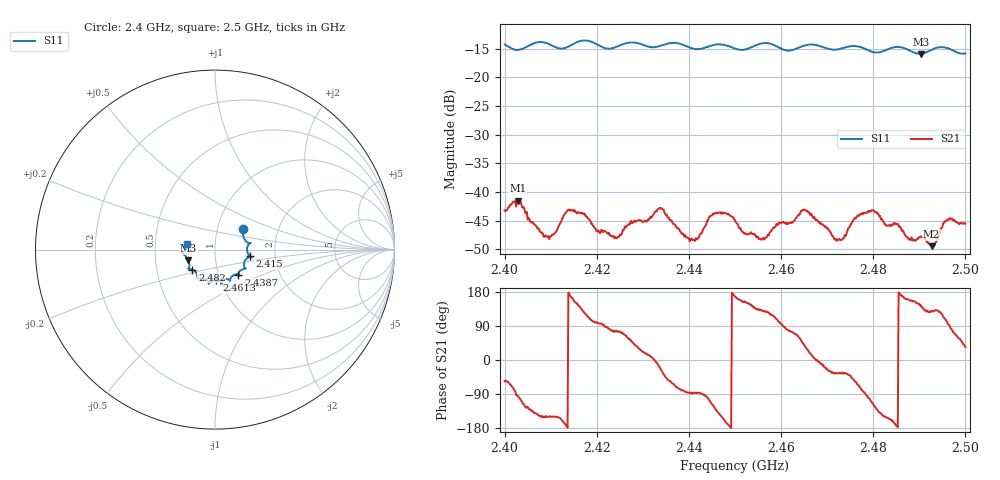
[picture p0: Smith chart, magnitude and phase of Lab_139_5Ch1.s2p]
# Hz S RI R 50
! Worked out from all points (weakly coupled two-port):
!   601 points, 2.4 GHz to 2.5 GHz, reference 50 ohm
!   highest |S21| = -41.52 dB at 2.4028 GHz (marker M1); lowest = -49.5 dB at 2.4927 GHz (marker M2)
!   lowest |S11| = -15.9 dB at 2.4903 GHz (marker M3), VSWR 1.38, Z = 36.8 - j4.43 ohm
!   |S11| at or under -10 dB: start of sweep to end of sweep
!   S12 and S22 are empty: the file has one direction only
!   S11 on the Smith chart (normalised r, x): 2.4 GHz: 1.33, +0.31; 2.415 GHz: 1.47, -0.11; 2.4387 GHz: 1.24, -0.36; 2.4613 GHz: 0.96, -0.34; 2.482 GHz: 0.76, -0.17; 2.5 GHz: 0.73, +0.05
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2.4e9  0.1579 0.1124  0.00393 -0.00566  0 0  0 0
2.402833e9  0.1607 0.0647  -0.000682 -0.00836  0 0  0 0
2.409167e9  0.1953 0.0363  -0.00352 -0.00204  0 0  0 0
2.415e9  0.1928 -0.0365  -0.00622 0.00262  0 0  0 0
2.416667e9  0.204 -0.0442  -0.00459 0.00457  0 0  0 0
2.424333e9  0.1619 -0.0894  0.000987 0.0038  0 0  0 0
2.433333e9  0.1318 -0.1315  0.00688 -0.00162  0 0  0 0
2.438667e9  0.1308 -0.1411  0.000747 -0.00427  0 0  0 0
2.441667e9  0.1027 -0.143  0.000269 -0.00387  0 0  0 0
2.445667e9  0.0834 -0.1736  -0.00396 -0.00517  0 0  0 0
2.45e9  0.0687 -0.1646  -0.00552 0.00119  0 0  0 0
2.455833e9  0.0361 -0.1943  -0.00246 0.00293  0 0  0 0
2.461333e9  0.00769 -0.171  0.000865 0.00527  0 0  0 0
2.466667e9  -0.0347 -0.1903  0.00618 0.00132  0 0  0 0
2.472667e9  -0.0746 -0.16  0.00323 -0.00215  0 0  0 0
2.477167e9  -0.0972 -0.1562  0.00186 -0.00614  0 0  0 0
2.482e9  -0.1261 -0.1112  -0.00471 -0.00318  0 0  0 0
2.483333e9  -0.1397 -0.1084  -0.00459 -0.00226  0 0  0 0
2.490333e9  -0.1492 -0.0586  -0.00333 0.00239  0 0  0 0
2.492667e9  -0.1717 -0.0291  -0.00211 0.00262  0 0  0 0
2.496167e9  -0.1786 -0.0167  -0.000601 0.00573  0 0  0 0
2.5e9  -0.1584 0.0324  0.00437 0.00296  0 0  0 0
